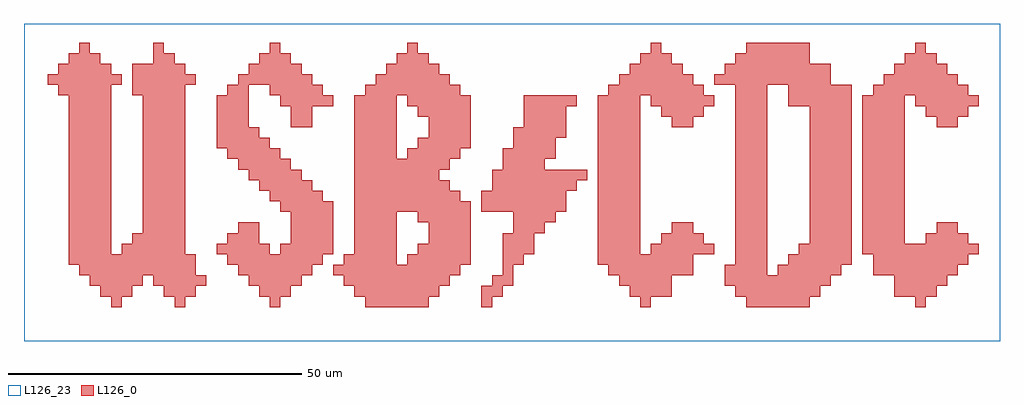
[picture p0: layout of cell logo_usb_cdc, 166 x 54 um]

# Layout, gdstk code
import gdstk
lib = gdstk.Library(unit=1e-6, precision=1e-09)
def R(c, l, rs):  # rectangles x0, y0, x1, y1
    for r in rs: c.add(gdstk.rectangle(r[:2], r[2:], *l))
def P(c, l, *ps):  # polygons
    for p in ps: c.add(gdstk.Polygon(p, *l))
L126_0 = (126, 0)
L126_23 = (126, 23)

logo_usb_cdc = lib.new_cell('logo_usb_cdc')
R(logo_usb_cdc, L126_0, [(73.8,3.6,75.6,5.4), (77.2,5.4,79.2,7.2), (34.2,39.6,36.005,41.4)])
P(logo_usb_cdc, L126_0, [(73.8,1.8),(73.8,3.6),(75.6,3.6),(75.6,7.2),(77.4,7.2),(77.4,14.4),(79.2,14.4),(79.2,18),(73.8,18),(73.8,21.6),(75.6,21.6),(75.6,25.2),(77.4,25.2),(77.4,28.8),(79.2,28.8),(79.2,32.4),(81,32.4),(81,37.8),(90,37.8),(90,36),(88.2,36),(88.2,30.6),(86.4,30.6),(86.4,27),(84.6,27),(84.6,25.2),(91.8,25.2),(91.8,23.4),(90,23.4),(90,21.6),(88.2,21.6),(88.2,18),(86.4,18),(86.4,16.2),(84.6,16.2),(84.6,14.4),(82.8,14.4),(82.8,10.8),(81,10.8),(81,9),(79.2,9),(79.2,7.2),(77.4,7.2),(77.4,3.6),(75.6,3.6),(75.6,1.8)],
  [(10.8,1.8),(10.8,3.6),(9,3.6),(9,5.4),(7.2,5.4),(7.2,7.2),(5.4,7.2),(5.4,9),(3.6,9),(3.6,37.8),(1.8,37.8),(1.8,39.6),(0,39.6),(0,41.4),(1.8,41.4),(1.8,43.2),(3.6,43.2),(3.6,45),(5.4,45),(5.4,46.8),(7.2,46.8),(7.2,45),(9,45),(9,43.2),(10.8,43.2),(10.8,41.4),(12.6,41.4),(12.6,39.6),(10.8,39.6),(10.8,10.8),(12.6,10.8),(12.6,12.6),(14.4,12.6),(14.4,14.4),(16.2,14.4),(16.2,37.8),(14.4,37.8),(14.4,43.2),(18,43.2),(18,46.8),(19.8,46.8),(19.8,45),(21.6,45),(21.6,43.2),(23.4,43.2),(23.4,41.4),(25.2,41.4),(25.2,39.6),(23.4,39.6),(23.4,10.8),(25.2,10.8),(25.2,7.2),(27,7.2),(27,5.4),(25.2,5.4),(25.2,3.6),(23.4,3.6),(23.4,1.8),(21.6,1.8),(21.6,3.6),(19.8,3.6),(19.8,5.4),(18,5.4),(18,7.2),(16.2,7.2),(16.2,5.4),(14.4,5.4),(14.4,3.6),(12.6,3.6),(12.6,1.8)],
  [(37.8,1.8),(37.8,3.6),(36,3.6),(36,5.4),(34.2,5.4),(34.2,7.2),(32.4,7.2),(32.4,9),(30.6,9),(30.6,10.8),(28.8,10.8),(28.8,12.6),(30.6,12.6),(30.6,14.4),(32.4,14.4),(32.4,16.2),(36,16.2),(36,12.6),(37.8,12.6),(37.8,10.8),(39.6,10.8),(39.6,12.6),(41.4,12.6),(41.4,18),(39.6,18),(39.6,19.8),(37.8,19.8),(37.8,21.6),(36,21.6),(36,23.4),(34.2,23.4),(34.2,25.2),(32.4,25.2),(32.4,27),(30.6,27),(30.6,28.8),(28.8,28.8),(28.8,37.8),(30.6,37.8),(30.6,39.6),(32.4,39.6),(32.4,41.4),(34.2,41.4),(34.2,43.2),(36,43.2),(36,45),(37.8,45),(37.8,46.8),(39.6,46.8),(39.6,45),(41.4,45),(41.4,43.2),(43.2,43.2),(43.2,41.4),(45,41.4),(45,39.6),(46.8,39.6),(46.8,37.8),(48.6,37.8),(48.6,36),(45,36),(45,32.4),(41.4,32.4),(41.4,36),(39.6,36),(39.6,37.8),(37.8,37.8),(37.8,39.6),(36,39.6),(36,41.4),(34.2,41.4),(34.2,32.4),(36,32.4),(36,30.6),(37.8,30.6),(37.8,28.8),(39.6,28.8),(39.6,27),(41.4,27),(41.4,25.2),(43.2,25.2),(43.2,23.4),(45,23.4),(45,21.6),(46.8,21.6),(46.8,19.8),(48.6,19.8),(48.6,10.8),(46.8,10.8),(46.8,9),(45,9),(45,7.2),(43.2,7.2),(43.2,5.4),(41.4,5.4),(41.4,3.6),(39.6,3.6),(39.6,1.8)],
  [(54,1.8),(54,3.6),(52.2,3.6),(52.2,5.4),(50.4,5.4),(50.4,7.2),(48.6,7.2),(48.6,9),(50.4,9),(50.4,10.8),(52.2,10.8),(52.2,18),(59.4,18),(59.4,9),(61.2,9),(61.2,10.8),(63,10.8),(63,12.6),(64.8,12.6),(64.8,16.2),(63,16.2),(63,18),(52.2,18),(52.2,37.8),(59.4,37.8),(59.4,27),(61.2,27),(61.2,28.8),(63,28.8),(63,30.6),(64.8,30.6),(64.8,34.2),(63,34.2),(63,36),(61.2,36),(61.2,37.8),(54,37.8),(54,39.6),(55.8,39.6),(55.8,41.4),(57.6,41.4),(57.6,43.2),(59.4,43.2),(59.4,45),(61.2,45),(61.2,46.8),(63,46.8),(63,45),(64.8,45),(64.8,43.2),(66.6,43.2),(66.6,41.4),(68.4,41.4),(68.4,39.6),(70.2,39.6),(70.2,37.8),(72,37.8),(72,28.8),(70.2,28.8),(70.2,27),(68.4,27),(68.4,25.2),(66.6,25.2),(66.6,23.4),(68.4,23.4),(68.4,21.6),(70.2,21.6),(70.2,19.8),(72,19.8),(72,9),(70.2,9),(70.2,7.2),(68.4,7.2),(68.4,5.4),(66.6,5.4),(66.6,3.6),(64.8,3.6),(64.8,1.8)],
  [(100.8,1.8),(100.8,3.6),(99,3.6),(99,5.4),(97.2,5.4),(97.2,7.2),(95.4,7.2),(95.4,9),(93.6,9),(93.6,37.8),(95.4,37.8),(95.4,39.6),(97.2,39.6),(97.2,41.4),(99,41.4),(99,43.2),(100.8,43.2),(100.8,45),(102.6,45),(102.6,46.8),(104.4,46.8),(104.4,45),(106.2,45),(106.2,43.2),(108,43.2),(108,41.4),(109.8,41.4),(109.8,39.6),(111.6,39.6),(111.6,37.8),(113.4,37.8),(113.4,36),(111.6,36),(111.6,34.2),(109.8,34.2),(109.8,32.4),(106.2,32.4),(106.2,34.2),(104.4,34.2),(104.4,36),(102.6,36),(102.6,37.8),(100.8,37.8),(100.8,10.8),(102.6,10.8),(102.6,12.6),(104.4,12.6),(104.4,14.4),(106.2,14.4),(106.2,16.2),(109.8,16.2),(109.8,14.4),(111.6,14.4),(111.6,12.6),(113.4,12.6),(113.4,10.8),(109.8,10.8),(109.8,7.2),(106.2,7.2),(106.2,3.6),(102.6,3.6),(102.6,1.8)],
  [(118.8,1.8),(118.8,3.6),(117,3.6),(117,5.4),(115.2,5.4),(115.2,9),(117,9),(117,39.6),(122.4,39.6),(122.4,7.2),(124.2,7.2),(124.2,9),(126,9),(126,10.8),(127.8,10.8),(127.8,12.6),(129.6,12.6),(129.6,36),(126,36),(126,39.6),(113.4,39.6),(113.4,41.4),(115.2,41.4),(115.2,43.2),(117,43.2),(117,45),(118.8,45),(118.8,46.8),(129.6,46.8),(129.6,43.2),(133.2,43.2),(133.2,39.6),(136.8,39.6),(136.8,9),(135,9),(135,7.2),(133.2,7.2),(133.2,5.4),(131.4,5.4),(131.4,3.6),(129.6,3.6),(129.6,1.8)],
  [(147.6,1.8),(147.6,3.6),(144,3.6),(144,7.2),(140.4,7.2),(140.4,10.8),(138.6,10.8),(138.6,37.8),(140.4,37.8),(140.4,39.6),(142.2,39.6),(142.2,41.4),(144,41.4),(144,43.2),(145.8,43.2),(145.8,45),(147.6,45),(147.6,46.8),(149.4,46.8),(149.4,45),(151.2,45),(151.2,43.2),(153,43.2),(153,41.4),(154.8,41.4),(154.8,39.6),(156.6,39.6),(156.6,37.8),(158.4,37.8),(158.4,36),(156.6,36),(156.6,34.2),(154.8,34.2),(154.8,32.4),(151.2,32.4),(151.2,34.2),(149.4,34.2),(149.4,36),(147.6,36),(147.6,37.8),(145.8,37.8),(145.8,12.6),(149.4,12.6),(149.4,14.4),(151.2,14.4),(151.2,16.2),(154.8,16.2),(154.8,14.4),(156.6,14.4),(156.6,12.6),(158.4,12.6),(158.4,10.8),(156.6,10.8),(156.6,9),(154.8,9),(154.8,7.2),(153,7.2),(153,5.4),(151.2,5.4),(151.2,3.6),(149.4,3.6),(149.4,1.8)])
R(logo_usb_cdc, L126_23, [(-4,-4,162,50)])

lib.write_gds('logo_usb_cdc.gds')
